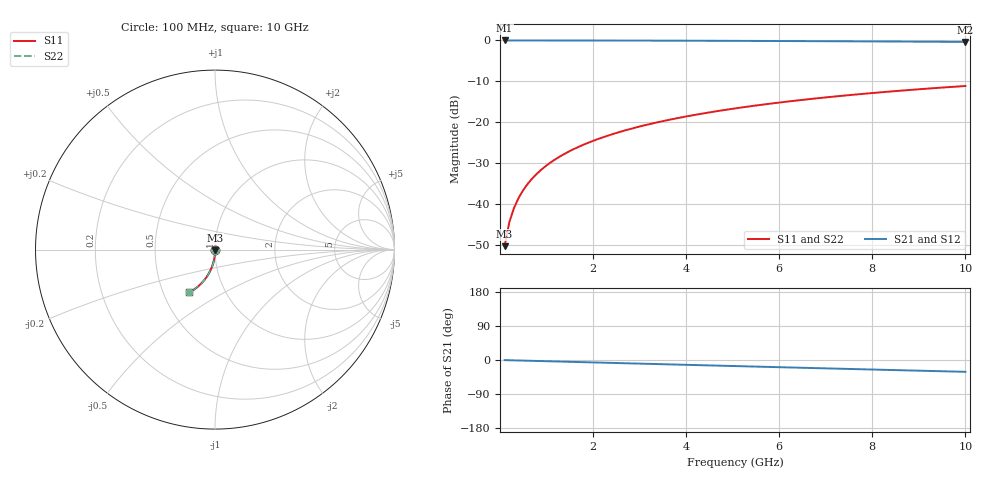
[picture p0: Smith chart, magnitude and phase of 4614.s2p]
# Hz S RI R 50.00
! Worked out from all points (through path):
!   100 points, 100 MHz to 10 GHz, reference 50 ohm
!   highest |S21| = -0.01 dB at 100 MHz (marker M1); lowest = -0.4 dB at 10 GHz (marker M2)
!   group delay of S21, straight-line fit = 8.68 ps
!   lowest |S11| = -50.2 dB at 100 MHz (marker M3), VSWR 1.01, Z = 50.1 - j0.3 ohm
!   |S11| at or under -10 dB: start of sweep to end of sweep
!   |S22| runs from -50.2 to -11.1 dB; largest |S21 - S12| = 0
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1e8  0.000804 -0.00299  0.9991 -0.00556  0.9991 -0.00556  0.000804 -0.00299
2e8  0.000756 -0.00598  0.9991 -0.0111  0.9991 -0.0111  0.000756 -0.00598
3e8  0.000673 -0.00897  0.999 -0.0167  0.999 -0.0167  0.000673 -0.00897
4e8  0.000556 -0.012  0.9988 -0.0222  0.9988 -0.0222  0.000556 -0.012
5e8  0.000405 -0.0149  0.9986 -0.0278  0.9986 -0.0278  0.000405 -0.0149
6e8  0.000221 -0.0179  0.9984 -0.0333  0.9984 -0.0333  0.000221 -0.0179
7e8  3.1e-06 -0.0209  0.9981 -0.0389  0.9981 -0.0389  3.1e-06 -0.0209
8e8  -0.000248 -0.0239  0.9978 -0.0444  0.9978 -0.0444  -0.000248 -0.0239
9e8  -0.000532 -0.0269  0.9975 -0.05  0.9975 -0.05  -0.000532 -0.0269
1.1e9  -0.0012 -0.0328  0.9967 -0.0611  0.9967 -0.0611  -0.0012 -0.0328
1.4e9  -0.00245 -0.0417  0.9952 -0.0776  0.9952 -0.0776  -0.00245 -0.0417
1.8e9  -0.00457 -0.0535  0.9926 -0.0997  0.9926 -0.0997  -0.00457 -0.0535
2.1e9  -0.00651 -0.0622  0.9903 -0.1161  0.9903 -0.1161  -0.00651 -0.0622
2.5e9  -0.00953 -0.0738  0.9866 -0.1379  0.9866 -0.1379  -0.00953 -0.0738
2.9e9  -0.0131 -0.0851  0.9824 -0.1596  0.9824 -0.1596  -0.0131 -0.0851
3.4e9  -0.0182 -0.0991  0.9762 -0.1864  0.9762 -0.1864  -0.0182 -0.0991
4.2e9  -0.0279 -0.1207  0.9645 -0.2287  0.9645 -0.2287  -0.0279 -0.1207
5.1e9  -0.041 -0.1438  0.9486 -0.275  0.9486 -0.275  -0.041 -0.1438
5.9e9  -0.0544 -0.1631  0.9322 -0.3149  0.9322 -0.3149  -0.0544 -0.1631
6.7e9  -0.0693 -0.181  0.9138 -0.3535  0.9138 -0.3535  -0.0693 -0.181
8.4e9  -0.1054 -0.214  0.869 -0.4306  0.869 -0.4306  -0.1054 -0.214
1e10  -0.1435 -0.2383  0.8206 -0.4964  0.8206 -0.4964  -0.1435 -0.2383
